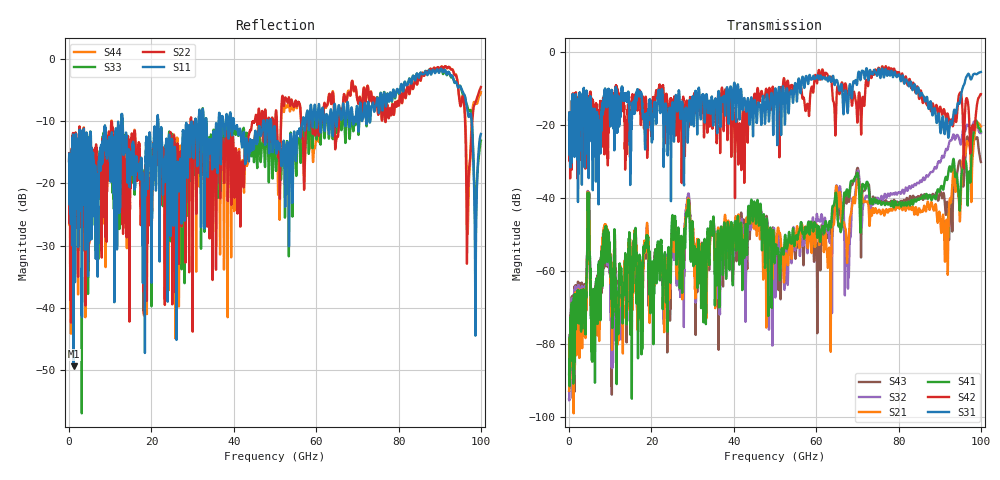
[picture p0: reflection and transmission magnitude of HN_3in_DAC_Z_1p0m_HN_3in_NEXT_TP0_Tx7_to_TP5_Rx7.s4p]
# GHz S RI R 45
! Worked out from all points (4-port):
!   4000 points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, 25 MHz to 100 GHz, reference 45 ohm
!   strongest paths, dB at 25 MHz, 25.02 GHz, 50.02 GHz, 75.03 GHz, 100 GHz:
!     S31: -18.6, -14.9, -10.3, -5.2, -5.5
!     S42: -18.6, -16.6, -12.4, -4.6, -11.5
!     S41: -88.3, -45.2, -55.9, -41.6, -21.7
!     S21: -92.8, -49.6, -53.3, -43.6, -20.4
!     S32: -95.1, -50.6, -58.0, -40.0, -22.2
!     S43: -95.0, -46.6, -57.9, -40.4, -30.1
!   lowest |S11| = -49.4 dB at 1.125 GHz (marker M1), VSWR 1.01, Z = 44.8 + j0.19 ohm
!   |S11| at or under -10 dB: start of sweep to 12.67 GHz; 12.99 GHz to 21.42 GHz (8.433 GHz wide, 49 % of centre); 21.66 GHz to 30.61 GHz (8.947 GHz wide, 34.2 % of centre) (the widest 3 of 34)
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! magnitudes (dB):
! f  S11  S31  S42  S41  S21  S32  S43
! 25 MHz  -16.5  -18.6  -18.6  -88.3  -92.8  -95.1  -95.0
! 1.125 GHz  -49.4  -24.2  -21.7  -85.1  -99.0  -82.9  -81.7
! 28.85 GHz  -17.2  -24.1  -15.4  -43.3  -40.8  -39.7  -41.2
! 51.17 GHz  -13.6  -10.9  -18.7  -62.4  -49.7  -49.8  -61.1
! 67.45 GHz  -7.7  -13.7  -11.1  -37.6  -56.1  -50.8  -41.3
! 91.58 GHz  -2.3  -18.6  -18.2  -34.2  -46.7  -26.5  -44.1
! 100 GHz  -12.1  -5.5  -11.5  -21.7  -20.4  -22.2  -30.1
